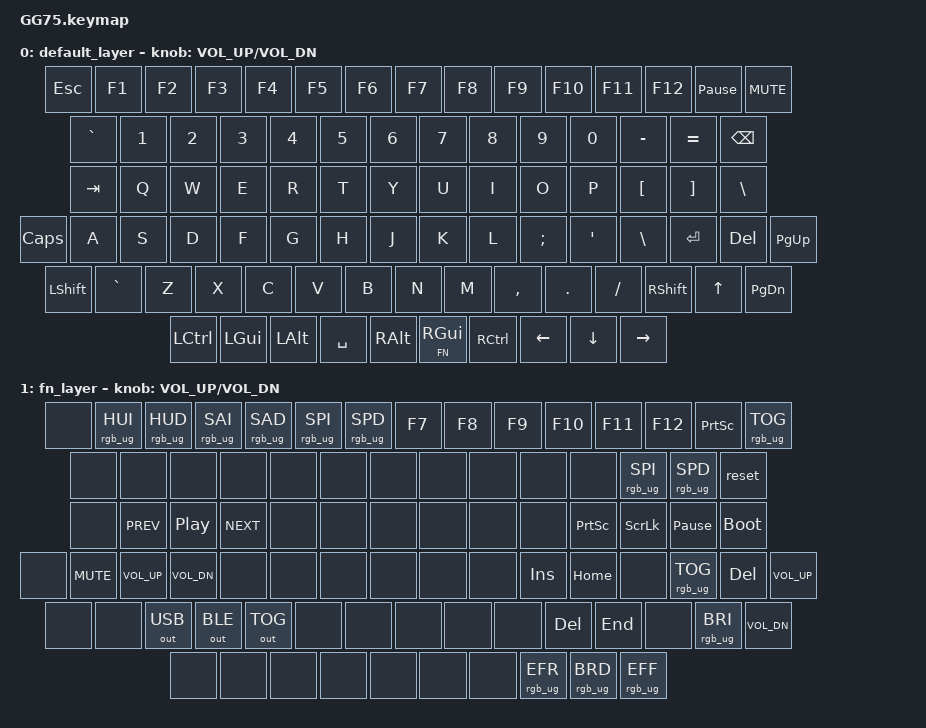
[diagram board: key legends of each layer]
#include <behaviors.dtsi>
#include <dt-bindings/zmk/keys.h>
#include <dt-bindings/zmk/bt.h>
#include <dt-bindings/zmk/outputs.h>
#include <dt-bindings/zmk/rgb.h>
// #include <dt-bindings/zmk/ext_power.h>
// changed lwr and rse
#define DEF 0
#define FN 1

/ {
    keymap {
        compatible = "zmk,keymap";

        default_layer {
          bindings = <
            &kp ESC   &kp F1 &kp F2 &kp F3 &kp F4 &kp F5 &kp F6 &kp F7 &kp F8 &kp F9 &kp F10 &kp F11 &kp F12 &kp PAUSE_BREAK    &kp C_MUTE
            &kp GRAVE &kp N1 &kp N2 &kp N3 &kp N4 &kp N5 &kp N6 &kp N7 &kp N8 &kp N9 &kp N0 &kp MINUS &kp EQUAL &kp BSPC
            &kp TAB   &kp Q   &kp W  &kp E  &kp R  &kp T    &kp Y  &kp U  &kp I  &kp O   &kp P  &kp LBKT &kp RBKT &kp BSLH
            &kp CAPS    &kp A  &kp S  &kp D  &kp F  &kp G  &kp H  &kp J  &kp K  &kp L  &kp SEMI &kp SQT &kp BSLH   &kp ENTER   &kp DEL   &kp PG_UP
            &kp LSHFT &kp GRAVE  &kp Z  &kp X  &kp C  &kp V  &kp B  &kp N  &kp M  &kp COMMA &kp DOT   &kp SLASH &kp RSHFT      &kp UP   &kp PG_DN
            &kp LCTRL &kp LGUI &kp LALT &kp SPACE &kp RALT &lt FN RGUI  &kp RCTRL                                        &kp LEFT &kp DOWN &kp RIGHT
			       >;
          sensor-bindings = <&inc_dec_kp C_VOL_UP C_VOL_DN>;

        };

        fn_layer {
          bindings = <
            &none   &rgb_ug RGB_HUI  &rgb_ug RGB_HUD &rgb_ug RGB_SAI &rgb_ug RGB_SAD &rgb_ug RGB_SPI &rgb_ug RGB_SPD &kp F7 &kp F8 &kp F9 &kp F10 &kp F11 &kp F12 &kp PSCRN   &rgb_ug RGB_TOG
            &none &none &none &none &none &none &none &none &none &none &none &rgb_ug RGB_SPI &rgb_ug RGB_SPD &reset
            &none   &kp C_PREV   &kp C_PP  &kp C_NEXT  &none  &none    &none  &none  &none  &none   &kp PSCRN  &kp SCROLLLOCK &kp PAUSE_BREAK &bootloader
            &none    &kp C_MUTE  &kp C_VOL_UP  &kp C_VOL_DN  &none  &none  &none  &none  &none  &none  &kp INS &kp HOME &none   &rgb_ug RGB_TOG   &kp DEL       &kp C_VOL_UP
            &none &none   &out OUT_USB  &out OUT_BLE  &out OUT_TOG  &none  &none  &none  &none  &none &kp DEL   &kp END         &none     &rgb_ug RGB_BRI      &kp C_VOL_DN
            &none &none &none &none &none &none &none                                                                  &rgb_ug RGB_EFR &rgb_ug RGB_BRD &rgb_ug RGB_EFF
			       >;
          sensor-bindings = <&inc_dec_kp C_VOL_UP C_VOL_DN>;

        };


    };
};
